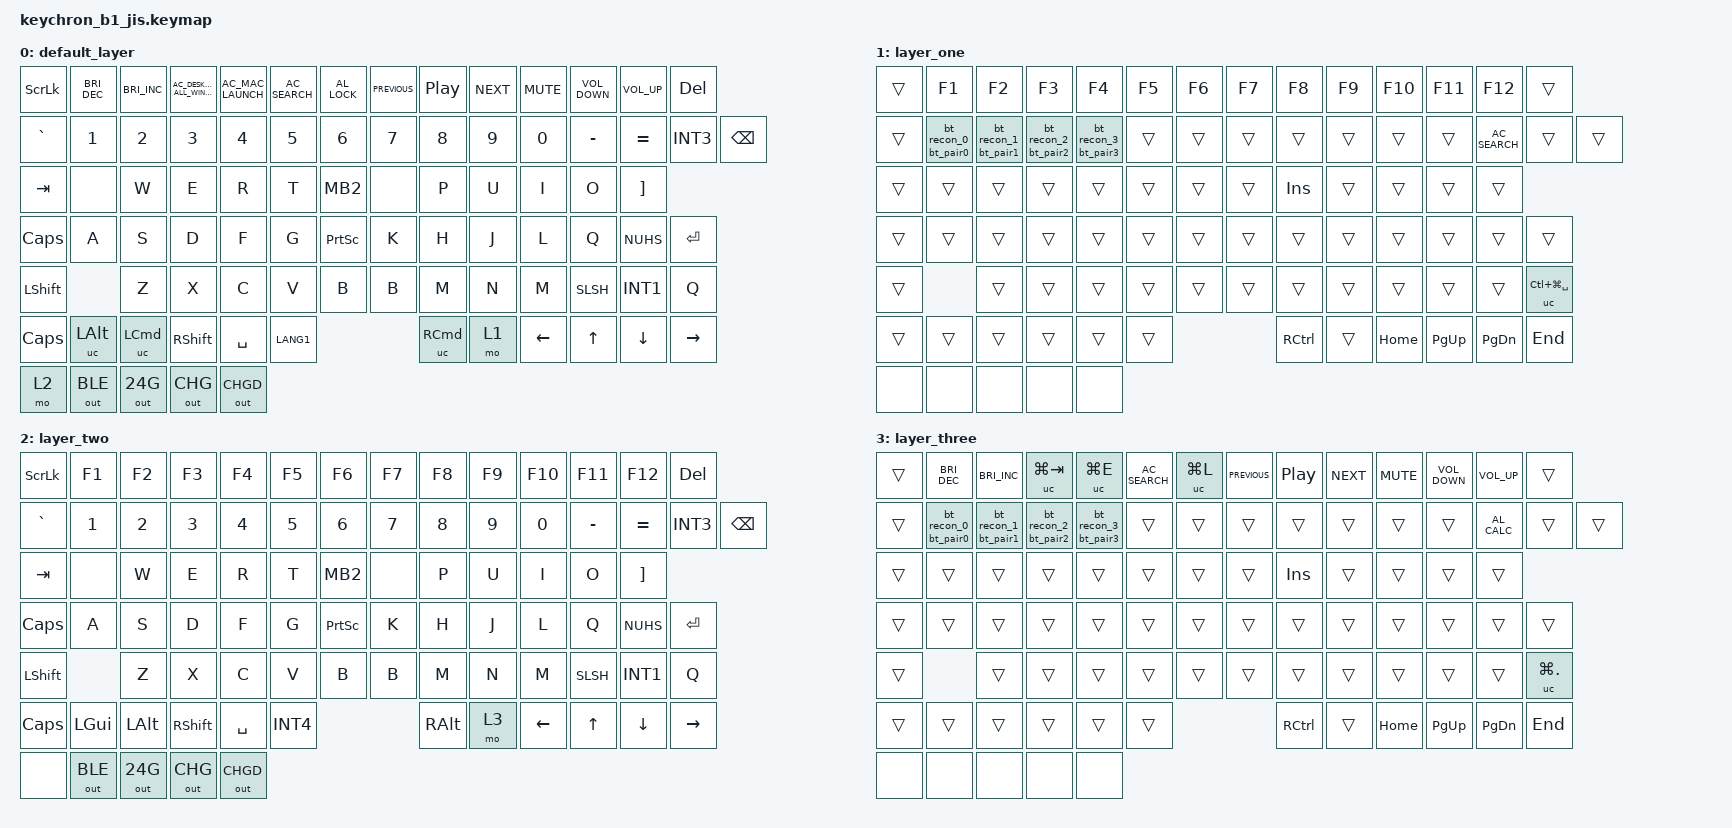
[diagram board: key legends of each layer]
/*
 * Copyright (c) 2023 The ZMK Contributors
 *
 * SPDX-License-Identifier: MIT
 */

#include <behaviors.dtsi>
#include <dt-bindings/zmk/keys.h>
#include <dt-bindings/zmk/rgb.h>
#include <dt-bindings/zmk/bt.h>
#include <dt-bindings/zmk/outputs.h>

/ {
    ZMK_MACRO(recover, bindings = <&out OUT_RECOVER>;)
    ZMK_MACRO(change, bindings = <&out OUT_FN>;)
    ZMK_MACRO(fn_win, bindings = <&out OUT_FN_WIN>;)

    ZMK_MACRO(en_bootloader, bindings = <&bootloader>;)
    ZMK_MACRO1(MA,bindings=<&kp 0x770000>;)

    long_press_recover:l1 {
        compatible = "zmk,behavior-hold-tap";
        label = "l1";
        #binding-cells = <2>;
        flavor = "tap-preferred";
        tapping-term-ms = <3000>;  // delay amount in ms
        bindings = <&recover>, <&none>;
    };

    long_press_change:l2{
        compatible = "zmk,behavior-hold-tap";
        label = "lp_change";
        #binding-cells = <2>;
        flavor = "tap-preferred";
        tapping-term-ms = <3000>;  // delay amount in ms
        bindings = <&change>, <&none>;
    };
    long_press_bootloader:l3{
        compatible = "zmk,behavior-hold-tap";
        label = "lp_bootloader";
        #binding-cells = <2>;
        flavor = "tap-preferred";
        tapping-term-ms = <3000>;  // delay amount in ms
        bindings = <&en_bootloader>, <&none>;
    };
    long_press_fn_win:l4{
        compatible = "zmk,behavior-hold-tap";
        label = "lp_fn_win";
        #binding-cells = <2>;
        flavor = "tap-preferred";
        tapping-term-ms = <3000>;   
        bindings = <&fn_win>, <&none>;
    };
   
    // Combos for special functions
    combos1 {
        compatible = "zmk,combos";
        combo_jz {
            timeout-ms = <1000>;
            layers = <1 3>;
            key-positions = <49 57>; //fn+j+z
            bindings = <&long_press_recover 0 0>;
        };
        combo_xl {
            timeout-ms = <1000>;
            layers =< 1 3>;
            key-positions = <58 51>; //fn+x+l
            bindings = <&long_press_change 0 0>;
        };
        combo_b {
            timeout-ms = <1000>;
            layers =< 1 3>;
            //slow-release = <true>;
            key-positions = <61>; //fn+b
            bindings = <&out OUT_BAT>;
        };

        combo_win_l {
            timeout-ms = <1000>;
            layers =< 1 3>;
            //slow-release = <true>;
            key-positions = <70>; //fn+win
            bindings = <&long_press_fn_win 0 0>;
        };
    };

    // Bluetooth profile macros
    ZMK_MACRO(bt_pair0, bindings = <&bt BT_PAIR 0>;)
    ZMK_MACRO(bt_pair1, bindings = <&bt BT_PAIR 1>;)
    ZMK_MACRO(bt_pair2, bindings = <&bt BT_PAIR 2>;)
    ZMK_MACRO(bt_pair3, bindings = <&bt BT_PAIR 3>;)
    ZMK_MACRO(bt_recon_0, bindings = <&bt BT_SEL 0>;)
    ZMK_MACRO(bt_recon_1, bindings = <&bt BT_SEL 1>;)
    ZMK_MACRO(bt_recon_2, bindings = <&bt BT_SEL 2>;)
    ZMK_MACRO(bt_recon_3, bindings = <&bt BT_SEL 3>;)

    bt_pair_0: bt_pair_0 {
        compatible = "zmk,behavior-hold-tap";
        label = "bt_pair0";
        #binding-cells = <2>;
        flavor = "tap-preferred";
        tapping-term-ms = <3000>;  // delay amount in ms
        bindings = <&bt_pair0>, <&bt_recon_0>;
    };
    bt_pair_1: bt_pair_1 {
        compatible = "zmk,behavior-hold-tap";
        label = "bt_pair1";
        #binding-cells = <2>;
        flavor = "tap-preferred";
        tapping-term-ms = <3000>;  // delay amount in ms
        bindings = <&bt_pair1>, <&bt_recon_1>;
    };
    bt_pair_2: bt_pair_2 {
        compatible = "zmk,behavior-hold-tap";
        label = "bt_pair2";
        #binding-cells = <2>;
        flavor = "tap-preferred";
        tapping-term-ms = <3000>;  // delay amount in ms
        bindings = <&bt_pair2>, <&bt_recon_2>;
    };
    bt_pair_3: bt_pair_3 {
        compatible = "zmk,behavior-hold-tap";
        label = "bt_pair3";
        #binding-cells = <2>;
        flavor = "tap-preferred";
        tapping-term-ms = <3000>;  // delay amount in ms
        bindings = <&bt_pair3>, <&bt_recon_3>;
    };
    uc:user_custom {
        compatible = "zmk,behavior-key-press";
        label ="user_custom";
        #binding-cells =<1>;
    };

    keymap {
        compatible = "zmk,keymap";
            //mac
        default_layer {
        bindings = <
          //ESC         //f1                    //f2                //f3                                    //f4                //f5                //f6            //f7            //f8                //f9        //f10       //f11               //f12               //DEL                                              
        &kp SLCK     &kp C_BRIGHTNESS_DEC    &kp C_BRIGHTNESS_INC    &kp C_AC_DESKTOP_SHOW_ALL_WINDOWS   &kp  C_AC_MAC_LAUNCH    &kp C_AC_SEARCH     &kp C_AL_LOCK   &kp C_PREVIOUS  &kp C_PLAY_PAUSE    &kp C_NEXT  &kp C_MUTE  &kp C_VOLUME_DOWN   &kp C_VOLUME_UP     &kp DEL  
        &kp GRAVE   &kp N1                  &kp N2                  &kp N3                              &kp N4                  &kp N5              &kp N6          &kp N7          &kp N8              &kp N9      &kp N0      &kp MINUS           &kp EQUAL           &kp INT3    &kp BSPC 
        &kp TAB     &none                   &kp W                   &kp E                               &kp R                   &kp T               &kp MB2         &none           &kp P               &kp U       &kp I       &kp O               &kp RBKT            
        &kp CAPS    &kp A                   &kp S                   &kp D                               &kp F                   &kp G               &kp PSCRN       &kp K           &kp H               &kp J       &kp L       &kp Q               &kp NUHS            &kp RET 
        &kp LSHFT                           &kp Z                   &kp X                               &kp C                   &kp V               &kp B           &kp B           &kp M               &kp N       &kp M       &kp SLSH            &kp INT1            &kp Q 
        &kp CAPS    &uc LALT                &uc LCMD                &kp RSHFT       &kp SPACE                                                       &kp LANG1                       &uc RCMD            &mo 1       &kp LEFT    &kp UP              &kp DOWN            &kp RIGHT   
        &mo 2       &out OUT_BLE            &out OUT_24G            &out OUT_CHG                        &out OUT_CHGD 
            >;
        };
        //mac
        layer_one  {
        bindings = < 
        &trans      &kp F1                  &kp F2                  &kp F3                              &kp F4                  &kp F5              &kp F6          &kp F7          &kp F8              &kp F9      &kp F10     &kp F11             &kp F12             &trans    
        &trans      &bt_pair_0 0 0          &bt_pair_1 0 0          &bt_pair_2 0 0                      &bt_pair_3 0 0          &trans              &trans          &trans          &trans              &trans      &trans      &trans              &kp C_AC_SEARCH     &trans    &trans  
        &trans      &trans                  &trans                  &trans                              &trans                  &trans              &trans          &trans          &kp INS             &trans      &trans      &trans              &trans              
        &trans      &trans                  &trans                  &trans                              &trans                  &trans              &trans          &trans          &trans              &trans      &trans      &trans              &trans              &trans
        &trans                              &trans                  &trans                              &trans                  &trans              &trans          &trans          &trans              &trans      &trans      &trans              &trans              &uc LC(LG(SPACE))
        &trans      &trans                  &trans                  &trans                  &trans                                                                  &trans                          &kp RCTRL           &trans        &kp HOME   &kp PG_UP   &kp PG_DN    &kp END  
        //
        &none       &none                   &none                   &none                               &none
            >;
        };
        //win
        layer_two {
        bindings = <
        &kp SLCK    &kp F1                 &kp F2                  &kp F3                              &kp F4                  &kp F5              &kp F6          &kp F7          &kp F8              &kp F9      &kp F10     &kp F11             &kp F12             &kp DEL     
        &kp GRAVE   &kp N1                 &kp N2                  &kp N3                              &kp N4                  &kp N5              &kp N6          &kp N7          &kp N8              &kp N9      &kp N0      &kp MINUS           &kp EQUAL           &kp INT3        &kp BSPC
        &kp TAB     &none                  &kp W                   &kp E                               &kp R                   &kp T               &kp MB2         &none           &kp P               &kp U       &kp I       &kp O               &kp RBKT            
        &kp CAPS    &kp A                  &kp S                   &kp D                               &kp F                   &kp G               &kp PSCRN       &kp K           &kp H               &kp J       &kp L       &kp Q               &kp NUHS            &kp RET
        &kp LSHFT                          &kp Z                   &kp X                               &kp C                   &kp V               &kp B           &kp B           &kp M               &kp N       &kp M       &kp SLSH            &kp INT1            &kp Q
        &kp CAPS    &kp LGUI               &kp LALT                &kp RSHFT             &kp SPACE                                                                 &kp INT4                       &kp RALT            &mo 3           &kp LEFT    &kp UP     &kp DOWN    &kp RIGHT   
        //
        &none       &out OUT_BLE           &out OUT_24G            &out OUT_CHG                        &out OUT_CHGD 
            >;
        };
        //win
        layer_three {
        bindings = < 
                    //f1                    //f2                    //f3                                //f4                        //f5            //f6              //f7            //f8              //f9        //f10           //f11                         //f12          
        &trans  &kp C_BRIGHTNESS_DEC    &kp C_BRIGHTNESS_INC        &uc LG(TAB)                         &uc LG(E)               &kp C_AC_SEARCH     &uc LG(L)       &kp C_PREVIOUS  &kp C_PLAY_PAUSE    &kp C_NEXT  &kp C_MUTE  &kp C_VOLUME_DOWN           &kp C_VOLUME_UP      &trans
        &trans  &bt_pair_0 0 0          &bt_pair_1 0 0              &bt_pair_2 0 0                      &bt_pair_3 0 0          &trans              &trans          &trans          &trans              &trans      &trans      &trans                      &kp C_AL_CALC        &trans     &trans
        &trans  &trans                  &trans                      &trans                              &trans                  &trans              &trans          &trans          &kp INS             &trans      &trans      &trans                      &trans                     
        &trans  &trans                  &trans                      &trans                              &trans                  &trans              &trans          &trans          &trans              &trans      &trans      &trans                      &trans               &trans  
        &trans                          &trans                      &trans                              &trans                  &trans              &trans          &trans          &trans              &trans      &trans      &trans                      &trans               &uc LG(DOT) 
        &trans  &trans                  &trans                      &trans     &trans                                                                               &trans                              &kp RCTRL           &trans      &kp HOME    &kp PG_UP    &kp PG_DN   &kp END    
        //
        &none   &none                   &none                       &none                               &none
            >;
        };
    };
}; 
